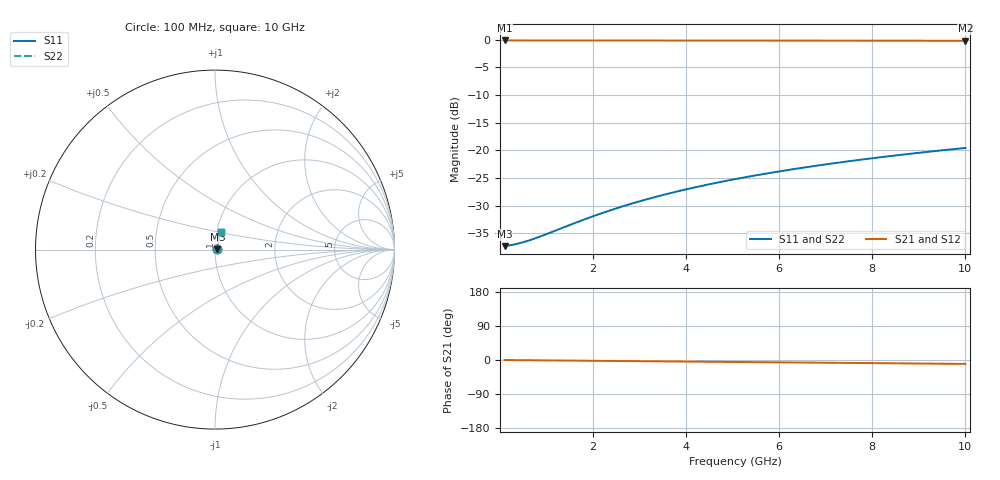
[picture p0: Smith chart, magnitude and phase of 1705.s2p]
# Hz S RI R 50.00
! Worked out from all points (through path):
!   100 points, 100 MHz to 10 GHz, reference 50 ohm
!   highest |S21| = -0.12 dB at 100 MHz (marker M1); lowest = -0.2 dB at 10 GHz (marker M2)
!   group delay of S21, straight-line fit = 2.86 ps
!   lowest |S11| = -37.3 dB at 100 MHz (marker M3), VSWR 1.03, Z = 51.4 + j0.106 ohm
!   |S11| at or under -10 dB: start of sweep to end of sweep
!   |S22| runs from -37.3 to -19.6 dB; largest |S21 - S12| = 0
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1e8  0.0135 0.00103  0.9865 -0.00178  0.9865 -0.00178  0.0135 0.00103
3e8  0.0137 0.00308  0.9863 -0.00533  0.9863 -0.00533  0.0137 0.00308
4e8  0.0138 0.00411  0.9862 -0.00711  0.9862 -0.00711  0.0138 0.00411
5e8  0.0138 0.00513  0.9861 -0.00889  0.9861 -0.00889  0.0138 0.00513
7e8  0.014 0.00718  0.986 -0.0124  0.986 -0.0124  0.014 0.00718
1e9  0.0141 0.0103  0.9858 -0.0178  0.9858 -0.0178  0.0141 0.0103
1.8e9  0.0147 0.0184  0.9852 -0.032  0.9852 -0.032  0.0147 0.0184
2.2e9  0.0151 0.0225  0.9848 -0.039  0.9848 -0.039  0.0151 0.0225
2.6e9  0.0155 0.0266  0.9843 -0.0461  0.9843 -0.0461  0.0155 0.0266
3e9  0.016 0.0307  0.9838 -0.0532  0.9838 -0.0532  0.016 0.0307
3.4e9  0.0165 0.0347  0.9832 -0.0603  0.9832 -0.0603  0.0165 0.0347
3.8e9  0.0171 0.0388  0.9825 -0.0673  0.9825 -0.0673  0.0171 0.0388
4.2e9  0.0177 0.0428  0.9818 -0.0744  0.9818 -0.0744  0.0177 0.0428
4.6e9  0.0184 0.0469  0.981 -0.0814  0.981 -0.0814  0.0184 0.0469
5.1e9  0.0193 0.0519  0.9799 -0.0902  0.9799 -0.0902  0.0193 0.0519
5.5e9  0.0201 0.0559  0.979 -0.0972  0.979 -0.0972  0.0201 0.0559
5.9e9  0.021 0.0599  0.978 -0.1042  0.978 -0.1042  0.021 0.0599
6.7e9  0.0229 0.0678  0.9758 -0.1182  0.9758 -0.1182  0.0229 0.0678
7.5e9  0.025 0.0757  0.9733 -0.1321  0.9733 -0.1321  0.025 0.0757
8.4e9  0.0277 0.0845  0.9702 -0.1476  0.9702 -0.1476  0.0277 0.0845
9.2e9  0.0303 0.0922  0.9672 -0.1613  0.9672 -0.1613  0.0303 0.0922
1e10  0.0331 0.0998  0.964 -0.175  0.964 -0.175  0.0331 0.0998
